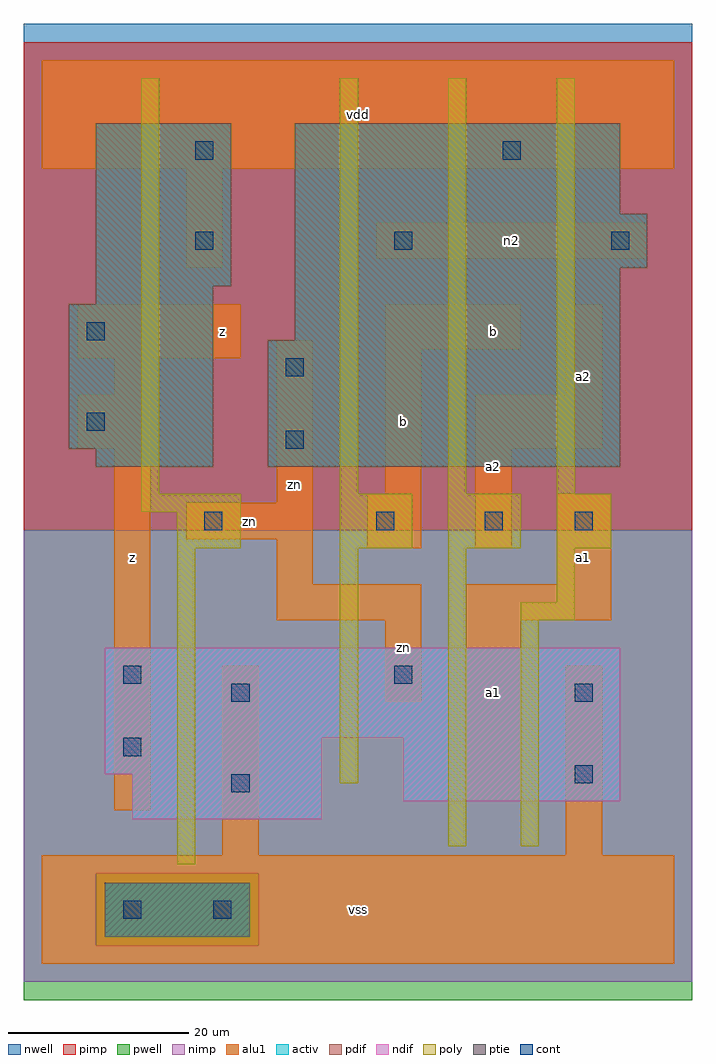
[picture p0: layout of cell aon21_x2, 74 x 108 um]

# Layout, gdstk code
import gdstk
lib = gdstk.Library(unit=1e-6, precision=1e-09)
def R(c, l, rs):  # rectangles x0, y0, x1, y1
    for r in rs: c.add(gdstk.rectangle(r[:2], r[2:], *l))
def A(c, l, x, y, w, h, nx, ny, dx, dy):  # array of equal rectangles
    R(c, l, [(x+i*dx, y+j*dy, x+i*dx+w, y+j*dy+h) for i in range(nx) for j in range(ny)])
ndif = (3, 0)
pdif = (4, 0)
ptie = (6, 0)
cont = (25, 0)
pwell = (41, 0)
nwell = (42, 0)
activ = (43, 0)
pimp = (44, 0)
nimp = (45, 0)
poly = (46, 0)
alu1 = (49, 0)

aon21_x2 = lib.new_cell('aon21_x2')
R(aon21_x2, ndif, [(10,16,31,21), (40,18,64,25), (7,21,31,25), (7,25,64,35)])
R(aon21_x2, pdif, [(6,55,19,57), (25,55,64,69), (3,57,19,73), (28,69,64,77), (6,73,19,75), (6,75,21,93), (28,77,67,83), (28,83,64,93)])
R(aon21_x2, ptie, [(7,3,23,9)])
R(aon21_x2, cont, [(9,5,11,7), (19,5,21,7), (21,19,23,21), (59,20,61,22), (9,23,11,25), (21,29,23,31), (59,29,61,31), (9,31,11,33), (39,31,41,33), (18,48,20,50), (37,48,39,50), (49,48,51,50), (59,48,61,50), (27,57,29,59), (5,59,7,61), (27,65,29,67), (5,69,7,71), (17,79,19,81), (39,79,41,81), (63,79,65,81), (17,89,19,91), (51,89,53,91)])
R(aon21_x2, pwell, [(-2,-4,72,48)])
R(aon21_x2, nwell, [(-2,48,72,104)])
R(aon21_x2, activ, [(7,3,23,9), (10,16,31,21), (40,18,64,25), (7,21,31,25), (7,25,64,35), (6,55,19,57), (25,55,64,69), (3,57,19,73), (28,69,64,77), (6,73,19,75), (6,75,21,93), (28,77,67,83), (28,83,64,93)])
R(aon21_x2, pimp, [(6,2,24,10), (-2,48,72,102)])
R(aon21_x2, nimp, [(-2,-2,72,2), (-2,2,6,10), (24,2,72,10), (-2,10,72,48)])
A(aon21_x2, poly, 33, 52, 2, 46, 3, 1, 12, 0)
R(aon21_x2, poly, [(15,11,17,46), (45,13,47,46), (53,13,55,38), (33,20,35,46), (53,38,59,40), (57,40,59,46), (15,46,22,50), (33,46,41,52), (45,46,53,52), (57,46,63,52), (11,50,22,52), (11,52,13,98)])
R(aon21_x2, alu1, [(0,0,70,12), (20,12,24,33), (58,12,62,33), (8,17,12,57), (47,18,53,38), (38,29,42,38), (26,38,42,42), (47,38,63,42), (26,42,30,47), (57,42,63,52), (36,46,42,52), (48,46,52,57), (16,47,30,51), (26,51,30,69), (38,52,42,68), (4,57,12,63), (48,57,62,63), (8,63,12,67), (58,63,62,73), (4,67,22,73), (38,68,53,73), (16,77,20,88), (37,78,67,82), (0,88,70,100)])
aon21_x2.add(gdstk.Label('z', (10,45), layer=49, texttype=0))
aon21_x2.add(gdstk.Label('z', (20,70), layer=49, texttype=0))
aon21_x2.add(gdstk.Label('vss', (35,6), layer=49, texttype=0))
aon21_x2.add(gdstk.Label('zn', (23,49), layer=49, texttype=0))
aon21_x2.add(gdstk.Label('zn', (28,53), layer=49, texttype=0))
aon21_x2.add(gdstk.Label('vdd', (35,94), layer=49, texttype=0))
aon21_x2.add(gdstk.Label('a1', (50,30), layer=49, texttype=0))
aon21_x2.add(gdstk.Label('zn', (40,35), layer=49, texttype=0))
aon21_x2.add(gdstk.Label('a2', (50,55), layer=49, texttype=0))
aon21_x2.add(gdstk.Label('b', (40,60), layer=49, texttype=0))
aon21_x2.add(gdstk.Label('b', (50,70), layer=49, texttype=0))
aon21_x2.add(gdstk.Label('a1', (60,45), layer=49, texttype=0))
aon21_x2.add(gdstk.Label('a2', (60,65), layer=49, texttype=0))
aon21_x2.add(gdstk.Label('n2', (52,80), layer=49, texttype=0))

lib.write_gds('aon21_x2.gds')
